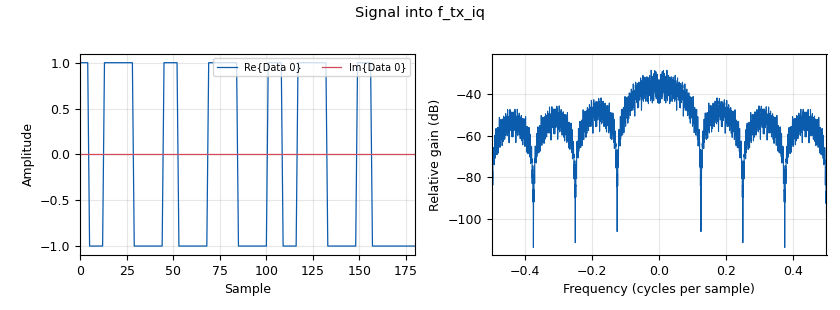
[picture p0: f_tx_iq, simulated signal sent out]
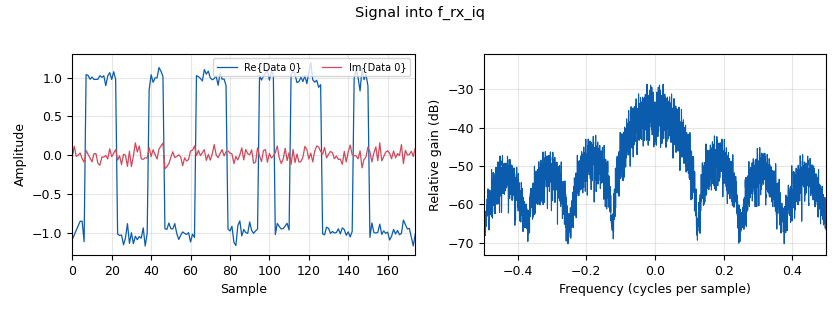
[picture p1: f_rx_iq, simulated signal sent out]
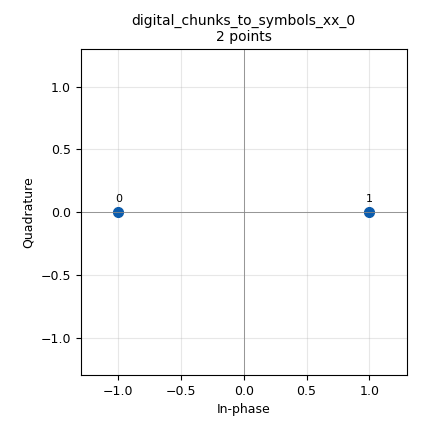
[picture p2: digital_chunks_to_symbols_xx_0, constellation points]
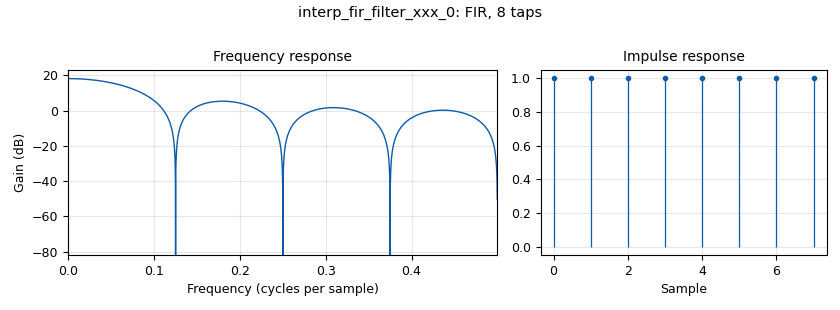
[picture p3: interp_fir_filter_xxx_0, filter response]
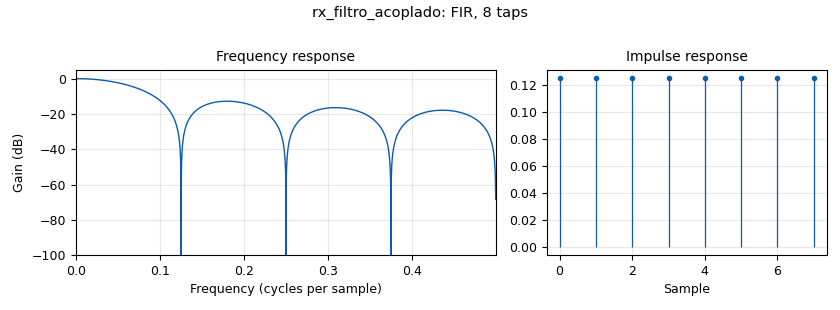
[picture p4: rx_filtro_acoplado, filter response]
options:
  parameters:
    author: 'Grupo 5: Elkin Largo, Stiven Muñoz, Minuk Lee'
    comment: GRC para analizar ruido AWGN en modulaciones basadas en constelaciones
    description: Mismo sistema que S3_Multitrayectoria_BPSK_Grupo5.grc; los sinks QT se sustituyen por File Sinks para exportar datos crudos. Sin Throttle (no hay GUI que sincronizar).
    generate_options: no_gui
    id: S3_Multitrayectoria_BPSK_Grupo5_headless
    output_language: python
    run_options: run
    title: S3 Multitrayectoria BPSK - Grupo 5 (exportacion de datos, sin GUI)
  states: {}

blocks:
- name: M
  id: variable
  parameters:
    value: len(tabla_de_verdad_constelacion)
  states: {}
- name: Rb
  id: variable
  parameters:
    value: Rs*bps
  states: {}
- name: Rs
  id: variable
  parameters:
    value: '32000'
  states: {}
- name: Sps
  id: variable
  parameters:
    value: '8'
  states: {}
- name: bps
  id: variable
  parameters:
    value: int(math.log(M,2))
  states: {}
- name: h
  id: variable
  parameters:
    value: '[1]*Sps'
  states: {}
- name: samp_rate
  id: variable
  parameters:
    value: Rs*Sps
  states: {}
- name: tabla_de_verdad_constelacion
  id: variable
  parameters:
    comment: Cambie esta tabla para OOK ASK BPSK QPSK 8PSK o 16QAM
    value: (-1+0j, 1+0j)
  states: {}
- name: analog_noise_source_x_0
  id: analog_noise_source_x
  parameters:
    amp: noise_amp
    noise_type: analog.GR_GAUSSIAN
    seed: '0'
    type: complex
  states: {}
- name: analog_random_source_x_0
  id: analog_random_source_x
  parameters:
    max: '2'
    min: '0'
    num_samps: '1000'
    repeat: 'True'
    type: byte
  states: {}
- name: blocks_add_xx_0
  id: blocks_add_xx
  parameters:
    type: complex
  states: {}
- name: blocks_pack_k_bits_bb_0
  id: blocks_pack_k_bits_bb
  parameters:
    k: '8'
  states: {}
- name: blocks_packed_to_unpacked_xx_0
  id: blocks_packed_to_unpacked_xx
  parameters:
    bits_per_chunk: bps
    endianness: gr.GR_MSB_FIRST
    type: byte
  states: {}
- name: digital_chunks_to_symbols_xx_0
  id: digital_chunks_to_symbols_xx
  parameters:
    dimension: '1'
    in_type: byte
    out_type: complex
    symbol_table: tabla_de_verdad_constelacion
  states: {}
- name: import_0
  id: import
  parameters:
    imports: import math, cmath
  states: {}
- name: interp_fir_filter_xxx_0
  id: interp_fir_filter_xxx
  parameters:
    interp: Sps
    taps: h
    type: ccf
  states: {}
- name: D_eco
  id: variable
  parameters:
    value: Sps
  states: {}
- name: eco_fase_deg
  id: variable
  parameters:
    value: '0'
  states: {}
- name: alpha_c
  id: variable
  parameters:
    value: eco_alpha*cmath.exp(1j*math.radians(eco_fase_deg))
  states: {}
- name: h_mf
  id: variable
  parameters:
    value: '[1.0/Sps]*Sps'
  states: {}
- name: delay_bits
  id: variable
  parameters:
    value: '0'
  states: {}
- name: N_ber
  id: variable
  parameters:
    value: '20000'
  states: {}
- name: canal_eco_retardo
  id: blocks_delay
  parameters:
    type: complex
    delay: D_eco
  states: {}
- name: canal_eco_ganancia
  id: blocks_multiply_const_vxx
  parameters:
    type: complex
    const: alpha_c
  states: {}
- name: canal_suma_eco
  id: blocks_add_xx
  parameters:
    type: complex
  states: {}
- name: rx_filtro_acoplado
  id: fir_filter_xxx
  parameters:
    type: ccf
    decim: '1'
    taps: h_mf
  states: {}
- name: rx_muestreo
  id: blocks_keep_one_in_n
  parameters:
    type: complex
    n: Sps
  states: {}
- name: rx_real_decision
  id: blocks_complex_to_real
  parameters: {}
  states: {}
- name: rx_decision
  id: digital_binary_slicer_fb
  parameters: {}
  states: {}
- name: ber_retardo_tx
  id: blocks_delay
  parameters:
    type: byte
    delay: delay_bits
  states: {}
- name: ber_xor
  id: blocks_xor_xx
  parameters:
    type: byte
    vlen: '1'
  states: {}
- name: limite_bits
  id: blocks_head
  parameters:
    type: byte
    num_items: 8*(n_simbolos//8)
  states: {}
- name: eco_alpha
  id: parameter
  parameters:
    label: Magnitud del eco
    short_id: a
    type: eng_float
    value: '0'
  states: {}
- name: noise_amp
  id: parameter
  parameters:
    label: Amplitud AWGN
    short_id: n
    type: eng_float
    value: '0.10'
  states: {}
- name: n_simbolos
  id: parameter
  parameters:
    label: Simbolos a simular
    short_id: s
    type: intx
    value: '200000'
  states: {}
- name: salida
  id: parameter
  parameters:
    label: Prefijo archivos
    short_id: o
    type: str
    value: prueba
  states: {}
- name: f_tx_iq
  id: blocks_file_sink
  parameters:
    file: salida+"_tx_iq.bin"
    type: complex
  states: {}
- name: f_rx_iq
  id: blocks_file_sink
  parameters:
    file: salida+"_rx_iq.bin"
    type: complex
  states: {}
- name: f_mf
  id: blocks_file_sink
  parameters:
    file: salida+"_filtro_acoplado.bin"
    type: complex
  states: {}
- name: f_simbolos
  id: blocks_file_sink
  parameters:
    file: salida+"_simbolos_rx.bin"
    type: complex
  states: {}
- name: f_bits_tx
  id: blocks_file_sink
  parameters:
    file: salida+"_bits_tx.bin"
    type: byte
  states: {}
- name: f_bits_rx
  id: blocks_file_sink
  parameters:
    file: salida+"_bits_rx.bin"
    type: byte
  states: {}
- name: f_err
  id: blocks_file_sink
  parameters:
    file: salida+"_errores.bin"
    type: byte
  states: {}

connections:
- [analog_noise_source_x_0, '0', blocks_add_xx_0, '1']
- [blocks_pack_k_bits_bb_0, '0', blocks_packed_to_unpacked_xx_0, '0']
- [blocks_packed_to_unpacked_xx_0, '0', digital_chunks_to_symbols_xx_0, '0']
- [digital_chunks_to_symbols_xx_0, '0', interp_fir_filter_xxx_0, '0']
- [interp_fir_filter_xxx_0, '0', canal_suma_eco, '0']
- [interp_fir_filter_xxx_0, '0', canal_eco_retardo, '0']
- [canal_eco_retardo, '0', canal_eco_ganancia, '0']
- [canal_eco_ganancia, '0', canal_suma_eco, '1']
- [canal_suma_eco, '0', blocks_add_xx_0, '0']
- [blocks_add_xx_0, '0', rx_filtro_acoplado, '0']
- [rx_filtro_acoplado, '0', rx_muestreo, '0']
- [rx_muestreo, '0', rx_real_decision, '0']
- [rx_real_decision, '0', rx_decision, '0']
- [blocks_packed_to_unpacked_xx_0, '0', ber_retardo_tx, '0']
- [ber_retardo_tx, '0', ber_xor, '0']
- [rx_decision, '0', ber_xor, '1']
- [analog_random_source_x_0, '0', limite_bits, '0']
- [limite_bits, '0', blocks_pack_k_bits_bb_0, '0']
- [interp_fir_filter_xxx_0, '0', f_tx_iq, '0']
- [blocks_add_xx_0, '0', f_rx_iq, '0']
- [rx_filtro_acoplado, '0', f_mf, '0']
- [rx_muestreo, '0', f_simbolos, '0']
- [ber_retardo_tx, '0', f_bits_tx, '0']
- [rx_decision, '0', f_bits_rx, '0']
- [ber_xor, '0', f_err, '0']

metadata:
  file_format: 1
  grc_version: 3.10.12.0
